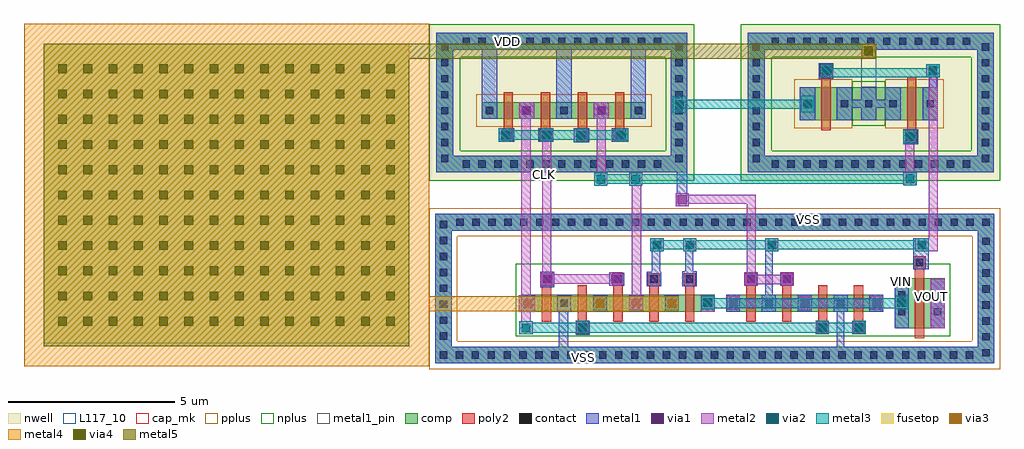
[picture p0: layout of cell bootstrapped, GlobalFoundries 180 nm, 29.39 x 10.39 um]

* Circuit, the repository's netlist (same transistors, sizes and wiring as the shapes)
** sch_path: /foss/designs/Chipathon-2026-OnChipSAR/designs/sar_adc/samplehold/bootstrapped/xschem/bootstrapped.sch
.subckt bootstrapped VDD VSS CLK VIN VOUT
*.PININFO CLK:B VSS:B VDD:B VOUT:B VIN:B
XBS_SW_N7 net1 CLKN VSS VSS nfet_03v3 L=0.28u W=0.5u nf=1 ad='int((nf+1)/2) * W/nf * 0.18u' as='int((nf+2)/2) * W/nf * 0.18u' pd='2*int((nf+1)/2) * (W/nf + 0.18u)'
+ ps='2*int((nf+2)/2) * (W/nf + 0.18u)' nrd='0.18u / W' nrs='0.18u / W' sa=0 sb=0 sd=0 m=2
XBS_SW_N3 cc VX Vcc VSS nfet_03v3 L=0.28u W=0.5u nf=1 ad='int((nf+1)/2) * W/nf * 0.18u' as='int((nf+2)/2) * W/nf * 0.18u' pd='2*int((nf+1)/2) * (W/nf + 0.18u)'
+ ps='2*int((nf+2)/2) * (W/nf + 0.18u)' nrd='0.18u / W' nrs='0.18u / W' sa=0 sb=0 sd=0
XBS_SW_P3 VX cc Vc Vc pfet_03v3 L=0.28u W=0.5u nf=1 ad='int((nf+1)/2) * W/nf * 0.18u' as='int((nf+2)/2) * W/nf * 0.18u' pd='2*int((nf+1)/2) * (W/nf + 0.18u)'
+ ps='2*int((nf+2)/2) * (W/nf + 0.18u)' nrd='0.18u / W' nrs='0.18u / W' sa=0 sb=0 sd=0 m=2
XBS_SW_N6 VX VDD net1 VSS nfet_03v3 L=0.28u W=0.5u nf=1 ad='int((nf+1)/2) * W/nf * 0.18u' as='int((nf+2)/2) * W/nf * 0.18u' pd='2*int((nf+1)/2) * (W/nf + 0.18u)'
+ ps='2*int((nf+2)/2) * (W/nf + 0.18u)' nrd='0.18u / W' nrs='0.18u / W' sa=0 sb=0 sd=0 m=2
XBS_SW_P1 Vc VX VDD Vc pfet_03v3 L=0.28u W=0.5u nf=1 ad='int((nf+1)/2) * W/nf * 0.18u' as='int((nf+2)/2) * W/nf * 0.18u' pd='2*int((nf+1)/2) * (W/nf + 0.18u)'
+ ps='2*int((nf+2)/2) * (W/nf + 0.18u)' nrd='0.18u / W' nrs='0.18u / W' sa=0 sb=0 sd=0 m=2
XBS_SW_N1 VOUT VX VIN VSS nfet_03v3 L=0.28u W=0.5u nf=1 ad='int((nf+1)/2) * W/nf * 0.18u' as='int((nf+2)/2) * W/nf * 0.18u' pd='2*int((nf+1)/2) * (W/nf + 0.18u)'
+ ps='2*int((nf+2)/2) * (W/nf + 0.18u)' nrd='0.18u / W' nrs='0.18u / W' sa=0 sb=0 sd=0 m=3
XBS_SW_N2 VIN VX Vcc VSS nfet_03v3 L=0.28u W=0.5u nf=1 ad='int((nf+1)/2) * W/nf * 0.18u' as='int((nf+2)/2) * W/nf * 0.18u' pd='2*int((nf+1)/2) * (W/nf + 0.18u)'
+ ps='2*int((nf+2)/2) * (W/nf + 0.18u)' nrd='0.18u / W' nrs='0.18u / W' sa=0 sb=0 sd=0
XBS_SW_N5 Vcc CLKN VSS VSS nfet_03v3 L=0.28u W=0.5u nf=1 ad='int((nf+1)/2) * W/nf * 0.18u' as='int((nf+2)/2) * W/nf * 0.18u' pd='2*int((nf+1)/2) * (W/nf + 0.18u)'
+ ps='2*int((nf+2)/2) * (W/nf + 0.18u)' nrd='0.18u / W' nrs='0.18u / W' sa=0 sb=0 sd=0
XBS_SW_N4 cc CLK Vcc VSS nfet_03v3 L=0.28u W=0.5u nf=1 ad='int((nf+1)/2) * W/nf * 0.18u' as='int((nf+2)/2) * W/nf * 0.18u' pd='2*int((nf+1)/2) * (W/nf + 0.18u)'
+ ps='2*int((nf+2)/2) * (W/nf + 0.18u)' nrd='0.18u / W' nrs='0.18u / W' sa=0 sb=0 sd=0
XBS_SW_P2 cc CLK VDD VDD pfet_03v3 L=0.28u W=0.5u nf=1 ad='int((nf+1)/2) * W/nf * 0.18u' as='int((nf+2)/2) * W/nf * 0.18u' pd='2*int((nf+1)/2) * (W/nf + 0.18u)'
+ ps='2*int((nf+2)/2) * (W/nf + 0.18u)' nrd='0.18u / W' nrs='0.18u / W' sa=0 sb=0 sd=0 m=2
XCAP_BOOT Vc Vcc cap_mim_2f0fF c_width=11e-6 c_length=9.1e-6
X1 VDD CLK CLKN VSS gate_inv_x1
.ends

* expanding   symbol:  designs/sar_adc/digital/gate_inv_x1/xschem/gate_inv_x1.sym # of pins=6
** sym_path: /foss/designs/Chipathon-2026-OnChipSAR/designs/sar_adc/digital/gate_inv_x1/xschem/gate_inv_x1.sym
** sch_path: /foss/designs/Chipathon-2026-OnChipSAR/designs/sar_adc/digital/gate_inv_x1/xschem/gate_inv_x1.sch
.subckt gate_inv_x1 VDD in out VSS
*.PININFO out:O in:B VDD:B VSS:B
XM1 out in VSS VSS nfet_03v3 L=0.28u W=0.5u nf=1 ad='int((nf+1)/2) * W/nf * 0.18u' as='int((nf+2)/2) * W/nf * 0.18u' pd='2*int((nf+1)/2) * (W/nf + 0.18u)'
+ ps='2*int((nf+2)/2) * (W/nf + 0.18u)' nrd='0.18u / W' nrs='0.18u / W' sa=0 sb=0 sd=0
XM2 out in VDD VDD pfet_03v3 L=0.28u W=0.5u nf=1 ad='int((nf+1)/2) * W/nf * 0.18u' as='int((nf+2)/2) * W/nf * 0.18u' pd='2*int((nf+1)/2) * (W/nf + 0.18u)'
+ ps='2*int((nf+2)/2) * (W/nf + 0.18u)' nrd='0.18u / W' nrs='0.18u / W' sa=0 sb=0 sd=0 m=2
.ends

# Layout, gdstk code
from math import pi, radians
import gdstk
lib = gdstk.Library(unit=1e-6, precision=1e-09)
def R(c, l, rs):  # rectangles x0, y0, x1, y1
    for r in rs: c.add(gdstk.rectangle(r[:2], r[2:], *l))
def A(c, l, x, y, w, h, nx, ny, dx, dy):  # array of equal rectangles
    R(c, l, [(x+i*dx, y+j*dy, x+i*dx+w, y+j*dy+h) for i in range(nx) for j in range(ny)])
def P(c, l, *ps):  # polygons
    for p in ps: c.add(gdstk.Polygon(p, *l))
nwell = (21, 0)
comp = (22, 0)
poly2 = (30, 0)
pplus = (31, 0)
nplus = (32, 0)
contact = (33, 0)
metal1 = (34, 0)
metal1_pin = (34, 10)
via1 = (35, 0)
metal2 = (36, 0)
via2 = (38, 0)
via3 = (40, 0)
via4 = (41, 0)
metal3 = (42, 0)
metal4 = (46, 0)
fusetop = (75, 0)
metal5 = (81, 0)
cap_mk = (117, 5)
L117_10 = (117, 10)

via_dev_18 = lib.new_cell('via_dev$18')
R(via_dev_18, metal1, [(0,0,0.4,0.4)])
R(via_dev_18, via1, [(0.07,0.07,0.33,0.33)])
R(via_dev_18, metal2, [(0,0,0.4,0.4)])
R(via_dev_18, via2, [(0.07,0.07,0.33,0.33)])
R(via_dev_18, via3, [(0.07,0.07,0.33,0.33)])
R(via_dev_18, via4, [(0.07,0.07,0.33,0.33)])
R(via_dev_18, metal3, [(0,0,0.4,0.4)])
R(via_dev_18, metal4, [(0,0,0.4,0.4)])
R(via_dev_18, metal5, [(0,0,0.4,0.4)])

via_dev_1 = lib.new_cell('via_dev$1')
R(via_dev_1, metal1, [(0,0,0.4,0.4)])
R(via_dev_1, via1, [(0.07,0.07,0.33,0.33)])
R(via_dev_1, metal2, [(0,0,0.4,0.4)])
R(via_dev_1, via2, [(0.07,0.07,0.33,0.33)])
R(via_dev_1, metal3, [(0,0,0.4,0.4)])

via_dev_2 = lib.new_cell('via_dev$2')
R(via_dev_2, metal2, [(0,0,0.4,0.4)])
R(via_dev_2, via2, [(0.07,0.07,0.33,0.33)])
R(via_dev_2, metal3, [(0,0,0.4,0.4)])

via_dev_13 = lib.new_cell('via_dev$13')
R(via_dev_13, comp, [(0,0,4.2,0.5)])
A(via_dev_13, contact, 0.31, 0.14, 0.22, 0.22, 8, 1, 0.48, 0)
R(via_dev_13, metal1, [(0,0,4.2,0.5)])

via_dev_15 = lib.new_cell('via_dev$15')
R(via_dev_15, comp, [(0,0,6.4,0.5)])
A(via_dev_15, contact, 0.21, 0.14, 0.22, 0.22, 13, 1, 0.48, 0)
R(via_dev_15, metal1, [(0,0,6.4,0.5)])

via_dev_7 = lib.new_cell('via_dev$7')
R(via_dev_7, comp, [(0,0,4,0.5)])
A(via_dev_7, contact, 0.21, 0.14, 0.22, 0.22, 8, 1, 0.48, 0)
R(via_dev_7, metal1, [(0,0,4,0.5)])

via_dev_22 = lib.new_cell('via_dev$22')
R(via_dev_22, comp, [(0,0,16.34,0.5)])
A(via_dev_22, contact, 0.14, 0.14, 0.22, 0.22, 34, 1, 0.48, 0)
R(via_dev_22, metal1, [(0,0,16.34,0.5)])

via_dev_9 = lib.new_cell('via_dev$9')
R(via_dev_9, metal1, [(0,0,0.4,0.4)])
R(via_dev_9, via1, [(0.07,0.07,0.33,0.33)])
R(via_dev_9, metal2, [(0,0,0.4,0.4)])
R(via_dev_9, via2, [(0.07,0.07,0.33,0.33)])
R(via_dev_9, via3, [(0.07,0.07,0.33,0.33)])
R(via_dev_9, metal3, [(0,0,0.4,0.4)])
R(via_dev_9, metal4, [(0,0,0.4,0.4)])

via_dev = lib.new_cell('via_dev')
R(via_dev, metal1, [(0,0,0.4,0.4)])
R(via_dev, via1, [(0.07,0.07,0.33,0.33)])
R(via_dev, metal2, [(0,0,0.4,0.4)])

via_dev_16 = lib.new_cell('via_dev$16')
R(via_dev_16, metal1, [(0,0,0.4,0.5)])
R(via_dev_16, via1, [(0.07,0.12,0.33,0.38)])
R(via_dev_16, metal2, [(0,0,0.4,0.5)])
R(via_dev_16, via2, [(0.07,0.12,0.33,0.38)])
R(via_dev_16, metal3, [(0,0,0.4,0.5)])

cap_mim = lib.new_cell('cap_mim')
A(cap_mim, via4, 0.43, 0.62, 0.26, 0.26, 14, 11, 0.76, 0.76)
R(cap_mim, metal4, [(-0.6,-0.6,11.6,9.7)])
R(cap_mim, fusetop, [(0,0,11,9.1)])
R(cap_mim, metal5, [(0,0,11,9.1)])
R(cap_mim, cap_mk, [(-0.6,-0.6,11.6,9.7)])
R(cap_mim, L117_10, [(0,0,11,0.1)])

pfet = lib.new_cell('pfet')
R(pfet, nwell, [(-1.15,-0.69,2.54,1.69)])
R(pfet, comp, [(-0.46,0,0,1), (0,0,0.66,1), (0.66,0,1.12,1), (1.12,0,1.85,1)])
R(pfet, poly2, [(0.14,-0.68,0.52,-0.3), (0.19,-0.3,0.47,1.3)])
R(pfet, pplus, [(-0.63,-0.24,1.12,1.24)])
R(pfet, nplus, [(1.12,-0.17,2.02,1.17)])
R(pfet, contact, [(0.22,-0.6,0.44,-0.38), (-0.34,0.39,-0.12,0.61), (0.78,0.39,1,0.61), (1.51,0.39,1.73,0.61)])
R(pfet, metal1, [(0.14,-0.681,0.52,-0.299), (-0.42,0.309,-0.04,0.691), (0.7,0.309,1.08,0.691), (1.43,0.309,1.81,0.691)])

pfet_1 = lib.new_cell('pfet$1')
R(pfet_1, nwell, [(-1.15,-0.69,2.54,1.69)])
R(pfet_1, comp, [(-0.46,0,0,1), (0,0,0.66,1), (0.66,0,1.12,1), (1.12,0,1.85,1)])
R(pfet_1, poly2, [(0.19,-0.3,0.47,1.3), (0.14,1.3,0.52,1.68)])
R(pfet_1, pplus, [(-0.63,-0.24,1.12,1.24)])
R(pfet_1, nplus, [(1.12,-0.17,2.02,1.17)])
R(pfet_1, contact, [(-0.34,0.39,-0.12,0.61), (0.78,0.39,1,0.61), (1.51,0.39,1.73,0.61), (0.22,1.38,0.44,1.6)])
R(pfet_1, metal1, [(-0.42,0.309,-0.04,0.691), (0.7,0.309,1.08,0.691), (1.43,0.309,1.81,0.691), (0.14,1.299,0.52,1.681)])

nfet = lib.new_cell('nfet')
R(nfet, comp, [(-0.42,0,0,0.5), (0,0,0.66,0.5), (0.66,0,1.08,0.5)])
R(nfet, poly2, [(0.19,-0.3,0.47,0.8), (0.15,0.8,0.51,1.16)])
R(nfet, nplus, [(-0.59,-0.24,1.25,0.74)])
R(nfet, contact, [(-0.32,0.14,-0.1,0.36), (0.76,0.14,0.98,0.36), (0.22,0.87,0.44,1.09)])
R(nfet, metal1, [(-0.4,0.059,-0.02,0.441), (0.68,0.059,1.06,0.441), (0.14,0.789,0.52,1.171)])

nfet_4 = lib.new_cell('nfet$4')
R(nfet_4, comp, [(-0.42,0,0,0.5), (0,0,0.66,0.5), (0.66,0,1.08,0.5)])
R(nfet_4, poly2, [(0.15,-0.66,0.51,-0.3), (0.19,-0.3,0.47,0.8)])
R(nfet_4, nplus, [(-0.59,-0.24,1.25,0.74)])
R(nfet_4, contact, [(0.22,-0.59,0.44,-0.37), (-0.32,0.14,-0.1,0.36), (0.76,0.14,0.98,0.36)])
R(nfet_4, metal1, [(0.14,-0.671,0.52,-0.289), (-0.4,0.059,-0.02,0.441), (0.68,0.059,1.06,0.441)])

nfet_5 = lib.new_cell('nfet$5')
R(nfet_5, comp, [(-0.42,0,0,1.5), (0,0,0.66,1.5), (0.66,0,1.08,1.5)])
R(nfet_5, poly2, [(0.19,-0.3,0.47,1.8), (0.15,1.8,0.51,2.16)])
R(nfet_5, nplus, [(-0.59,-0.24,1.25,1.74)])
R(nfet_5, contact, [(-0.32,0.385,-0.1,0.605), (0.76,0.385,0.98,0.605), (-0.32,0.895,-0.1,1.115), (0.76,0.895,0.98,1.115), (0.22,1.87,0.44,2.09)])
R(nfet_5, metal1, [(-0.4,0.305,-0.02,1.195), (0.68,0.305,1.06,1.195), (0.14,1.789,0.52,2.171)])

pfet_3 = lib.new_cell('pfet$3')
R(pfet_3, nwell, [(-0.9,-0.44,1.56,0.94)])
R(pfet_3, comp, [(-0.46,0,0,0.5), (0,0,0.66,0.5), (0.66,0,1.12,0.5)])
R(pfet_3, poly2, [(0.14,-0.68,0.52,-0.3), (0.19,-0.3,0.47,0.8)])
R(pfet_3, pplus, [(-0.63,-0.24,1.29,0.74)])
R(pfet_3, contact, [(0.22,-0.6,0.44,-0.38), (-0.34,0.14,-0.12,0.36), (0.78,0.14,1,0.36)])
R(pfet_3, metal1, [(0.14,-0.681,0.52,-0.299), (-0.42,0.059,-0.04,0.441), (0.7,0.059,1.08,0.441)])

via_dev_20 = lib.new_cell('via_dev$20')
R(via_dev_20, comp, [(0,0,6.55,0.5)])
A(via_dev_20, contact, 0.285, 0.14, 0.22, 0.22, 13, 1, 0.48, 0)
R(via_dev_20, metal1, [(0,0,6.55,0.5)])

bootstrapped = lib.new_cell('bootstrapped')
R(bootstrapped, nwell, [(10.67,5.585,18.65,10.295), (20.05,5.585,27.85,10.295)])
P(bootstrapped, pplus, [(10.67,3.91),(10.67,4.75),(27.85,4.75),(27.85,4.24),(27.85,3.91)],
  [(11.51,-0.09),(11.51,0.425),(11.51,0.75),(27.01,0.75),(27.01,-0.09)],
  [(27.01,-0.09),(27.01,3.91),(27.85,3.91),(27.85,-0.09),(27.12,-0.09)],
  [(10.67,-0.09),(10.67,3.91),(11.51,3.91),(11.51,-0.09),(10.82,-0.09)])
R(bootstrapped, nplus, [(13.27,0.895,26.35,3.085), (10.67,5.585,11.6,9.305), (11.6,5.585,17.78,6.485), (17.78,5.585,18.65,9.305), (20.05,5.585,20.98,9.305), (20.98,5.585,26.98,6.485), (26.98,5.585,27.85,9.305), (10.67,9.305,18.65,10.295), (20.05,9.305,27.85,10.295)])
A(bootstrapped, metal1, 14.52, 1.635, 0.42, 0.5, 3, 1, 1.08, 0)
A(bootstrapped, metal1, 16.68, 1.635, 0.42, 0.5, 3, 1, 1.08, 0)
A(bootstrapped, metal1, 19.6, 1.64, 0.42, 0.5, 3, 1, 1.08, 0)
A(bootstrapped, metal1, 21.76, 1.64, 0.42, 0.5, 3, 1, 1.08, 0)
A(bootstrapped, metal1, 22.94, 7.395, 0.46, 1, 3, 1, 0.73, 0)
A(bootstrapped, metal1, 12.25, 7.445, 0.46, 2.085, 3, 1, 2.24, 0)
R(bootstrapped, metal1, [(14.57,0.575,14.85,1.635), (22.93,0.58,23.16,1.64), (15.08,0.935,15.5,1.355), (22.31,0.96,22.7,1.36), (23.4,0.96,23.79,1.36), (24.68,1.135,25.1,2.635), (25.76,1.135,26.18,2.635), (13.36,1.635,13.86,2.135), (20.78,2.14,21.01,3.45), (14,2.375,14.43,2.835), (17.21,2.405,17.65,2.845), (18.28,2.405,18.72,2.85), (16.1,2.415,16.54,2.815), (20.15,2.42,20.55,2.82), (21.24,2.42,21.64,2.82), (21.24,2.42,21.64,2.82), (17.37,2.845,17.62,3.45), (18.37,2.845,18.62,3.45), (25.24,2.915,25.7,3.85), (18.11,5.21,18.43,5.83), (24.94,6.685,25.39,7.125), (15.02,6.745,15.48,7.155), (12.76,6.755,13.23,7.155), (13.95,6.755,14.4,7.155), (16.16,6.755,16.66,7.155), (21.82,7.395,22.28,8.395), (22.94,7.395,23.4,8.395), (25.52,7.395,25.98,8.395), (13.37,7.445,13.83,7.945), (15.61,7.445,16.07,7.945), (23.36,7.775,24.82,8.015), (25.72,8.395,25.95,8.69), (22.395,8.655,22.835,9.115)])
R(bootstrapped, metal1_pin, [(23.67,8.395,24.13,9.525)])
R(bootstrapped, metal2, [(25.76,1.135,26.18,2.635), (13.44,1.345,13.72,7.705), (13.36,1.635,13.86,2.135), (18.84,1.635,19.26,2.135), (20.02,1.75,21.78,2.03), (22.18,1.75,23.94,2.03), (16.76,2.025,17.04,5.425), (20.55,2.47,21.24,2.75), (14.31,2.48,16.2,2.765), (20.22,2.75,20.5,4.88), (14.06,2.815,14.34,7.025), (25.7,3.45,25.98,8.69), (18.48,4.88,20.5,5.16), (15.7,5.48,15.98,7.445), (24.99,5.84,25.27,6.71), (13.37,7.445,13.83,7.945), (15.61,7.445,16.07,7.945)])
R(bootstrapped, metal3, [(13.78,0.995,23.4,1.305), (18.91,1.735,24.7,2.045), (17.32,3.515,25.3,3.795), (16.03,5.49,24.94,5.77), (13.16,6.815,16.26,7.095), (18.4,7.745,21.86,8.025), (22.835,8.69,25.63,8.97)])
R(bootstrapped, metal4, [(10.66,1.655,18.17,2.095)])
R(bootstrapped, metal5, [(10.06,9.255,24.13,9.7)])
bootstrapped.add(gdstk.Reference(via_dev_18, (23.69,9.29)))
bootstrapped.add(gdstk.Reference(via_dev_1, (25.3,3.45)))
bootstrapped.add(gdstk.Reference(via_dev_2, (16.03,5.425), rotation=pi, x_reflection=True))
bootstrapped.add(gdstk.Reference(via_dev_2, (24.94,5.44)))
bootstrapped.add(gdstk.Reference(via_dev_2, (17.08,5.425), rotation=pi, x_reflection=True))
bootstrapped.add(gdstk.Reference(via_dev_13, (27.16,10.03), rotation=3*pi/2))
bootstrapped.add(gdstk.Reference(via_dev_15, (20.76,9.53)))
bootstrapped.add(gdstk.Reference(via_dev_13, (20.26,10.03), rotation=3*pi/2))
bootstrapped.add(gdstk.Reference(via_dev_7, (11.34,0.58), rotation=pi/2))
bootstrapped.add(gdstk.Reference(via_dev_1, (24.94,6.71)))
bootstrapped.add(gdstk.Reference(via_dev_1, (25.63,8.69)))
bootstrapped.add(gdstk.Reference(via_dev_1, (22.435,8.69)))
bootstrapped.add(gdstk.Reference(via_dev_15, (20.76,5.83)))
bootstrapped.add(gdstk.Reference(via_dev_22, (10.84,0.08)))
bootstrapped.add(gdstk.Reference(via_dev_9, (16.01,1.69), rotation=pi, x_reflection=True))
bootstrapped.add(gdstk.Reference(via_dev, (13.84,1.68), rotation=pi, x_reflection=True))
bootstrapped.add(gdstk.Reference(via_dev, (17.09,1.7), rotation=pi, x_reflection=True))
bootstrapped.add(gdstk.Reference(via_dev_2, (13.78,0.95), rotation=pi, x_reflection=True))
bootstrapped.add(gdstk.Reference(via_dev_1, (18.31,3.45)))
bootstrapped.add(gdstk.Reference(via_dev_1, (17.32,3.45)))
bootstrapped.add(gdstk.Reference(via_dev_1, (18.85,1.71)))
bootstrapped.add(gdstk.Reference(via_dev_9, (17.77,1.69)))
bootstrapped.add(gdstk.Reference(via_dev, (14.41,2.42), rotation=pi, x_reflection=True))
bootstrapped.add(gdstk.Reference(via_dev, (16.48,2.42), rotation=pi, x_reflection=True))
bootstrapped.add(gdstk.Reference(via_dev_1, (20.78,3.45)))
bootstrapped.add(gdstk.Reference(via_dev_1, (15.48,0.96), rotation=pi, x_reflection=True))
bootstrapped.add(gdstk.Reference(via_dev, (18.08,4.81)))
bootstrapped.add(gdstk.Reference(via_dev_16, (18,7.62)))
bootstrapped.add(gdstk.Reference(via_dev_16, (21.86,7.64)))
bootstrapped.add(gdstk.Reference(cap_mim, (-0.94,0.6)))
bootstrapped.add(gdstk.Reference(pfet, (25.52,7.4), rotation=pi, x_reflection=True))
bootstrapped.add(gdstk.Reference(pfet_1, (22.28,7.4)))
bootstrapped.add(gdstk.Reference(nfet, (18.18,1.64)))
bootstrapped.add(gdstk.Reference(nfet, (17.76,1.64), rotation=pi, x_reflection=True))
bootstrapped.add(gdstk.Reference(nfet, (16.02,1.64)))
bootstrapped.add(gdstk.Reference(nfet_4, (15.6,1.64), rotation=pi, x_reflection=True))
bootstrapped.add(gdstk.Reference(nfet, (14.52,1.64), rotation=pi, x_reflection=True))
bootstrapped.add(gdstk.Reference(nfet_5, (25.1,1.14)))
bootstrapped.add(gdstk.Reference(via_dev_7, (27.68,0.08), rotation=pi/2))
bootstrapped.add(gdstk.Reference(via_dev_22, (27.68,4.58), rotation=pi))
bootstrapped.add(gdstk.Reference(via_dev_1, (24.69,1.71)))
bootstrapped.add(gdstk.Reference(nfet_4, (20.02,2.14), x_reflection=True))
bootstrapped.add(gdstk.Reference(nfet_4, (21.1,2.14), x_reflection=True))
bootstrapped.add(gdstk.Reference(via_dev, (19.62,2.1), x_reflection=True))
bootstrapped.add(gdstk.Reference(via_dev, (20.15,2.42)))
bootstrapped.add(gdstk.Reference(via_dev, (21.24,2.42)))
bootstrapped.add(gdstk.Reference(via_dev, (21.78,1.68)))
bootstrapped.add(gdstk.Reference(nfet, (23.26,2.14), x_reflection=True))
bootstrapped.add(gdstk.Reference(via_dev, (23.94,2.1), x_reflection=True))
bootstrapped.add(gdstk.Reference(nfet, (22.18,2.14), x_reflection=True))
bootstrapped.add(gdstk.Reference(via_dev_1, (22.3,0.96)))
bootstrapped.add(gdstk.Reference(via_dev_1, (23.4,0.96)))
bootstrapped.add(gdstk.Reference(pfet_3, (15.61,7.445), rotation=pi, x_reflection=True))
bootstrapped.add(gdstk.Reference(via_dev_1, (15.02,6.745)))
bootstrapped.add(gdstk.Reference(via_dev, (13.385,7.5)))
bootstrapped.add(gdstk.Reference(via_dev, (15.65,7.5)))
bootstrapped.add(gdstk.Reference(via_dev_1, (16.26,6.755)))
bootstrapped.add(gdstk.Reference(via_dev_13, (17.93,10.03), rotation=3*pi/2))
bootstrapped.add(gdstk.Reference(via_dev_1, (12.76,6.755)))
bootstrapped.add(gdstk.Reference(via_dev_1, (14,6.755)))
bootstrapped.add(gdstk.Reference(pfet_3, (16.73,7.445), rotation=pi, x_reflection=True))
bootstrapped.add(gdstk.Reference(pfet_3, (13.37,7.445), rotation=pi, x_reflection=True))
bootstrapped.add(gdstk.Reference(via_dev_20, (11.38,5.83)))
bootstrapped.add(gdstk.Reference(pfet_3, (14.49,7.445), rotation=pi, x_reflection=True))
bootstrapped.add(gdstk.Reference(via_dev_13, (10.88,10.03), rotation=3*pi/2))
bootstrapped.add(gdstk.Reference(via_dev_20, (11.38,9.53)))
bootstrapped.add(gdstk.Label('VOUT', (25.78,2.095), layer=34, texttype=10))
bootstrapped.add(gdstk.Label('VIN', (24.89,2.54), layer=34, texttype=10))
bootstrapped.add(gdstk.Label('VSS', (22.09,4.41), layer=34, texttype=10))
bootstrapped.add(gdstk.Label('VSS', (15.31,0.255), layer=34, texttype=10))
bootstrapped.add(gdstk.Label('VDD', (13.007,9.782), layer=34, texttype=10))
bootstrapped.add(gdstk.Label('CLK', (14.12,5.755), layer=36, texttype=10))

lib.write_gds('bootstrapped.gds')
